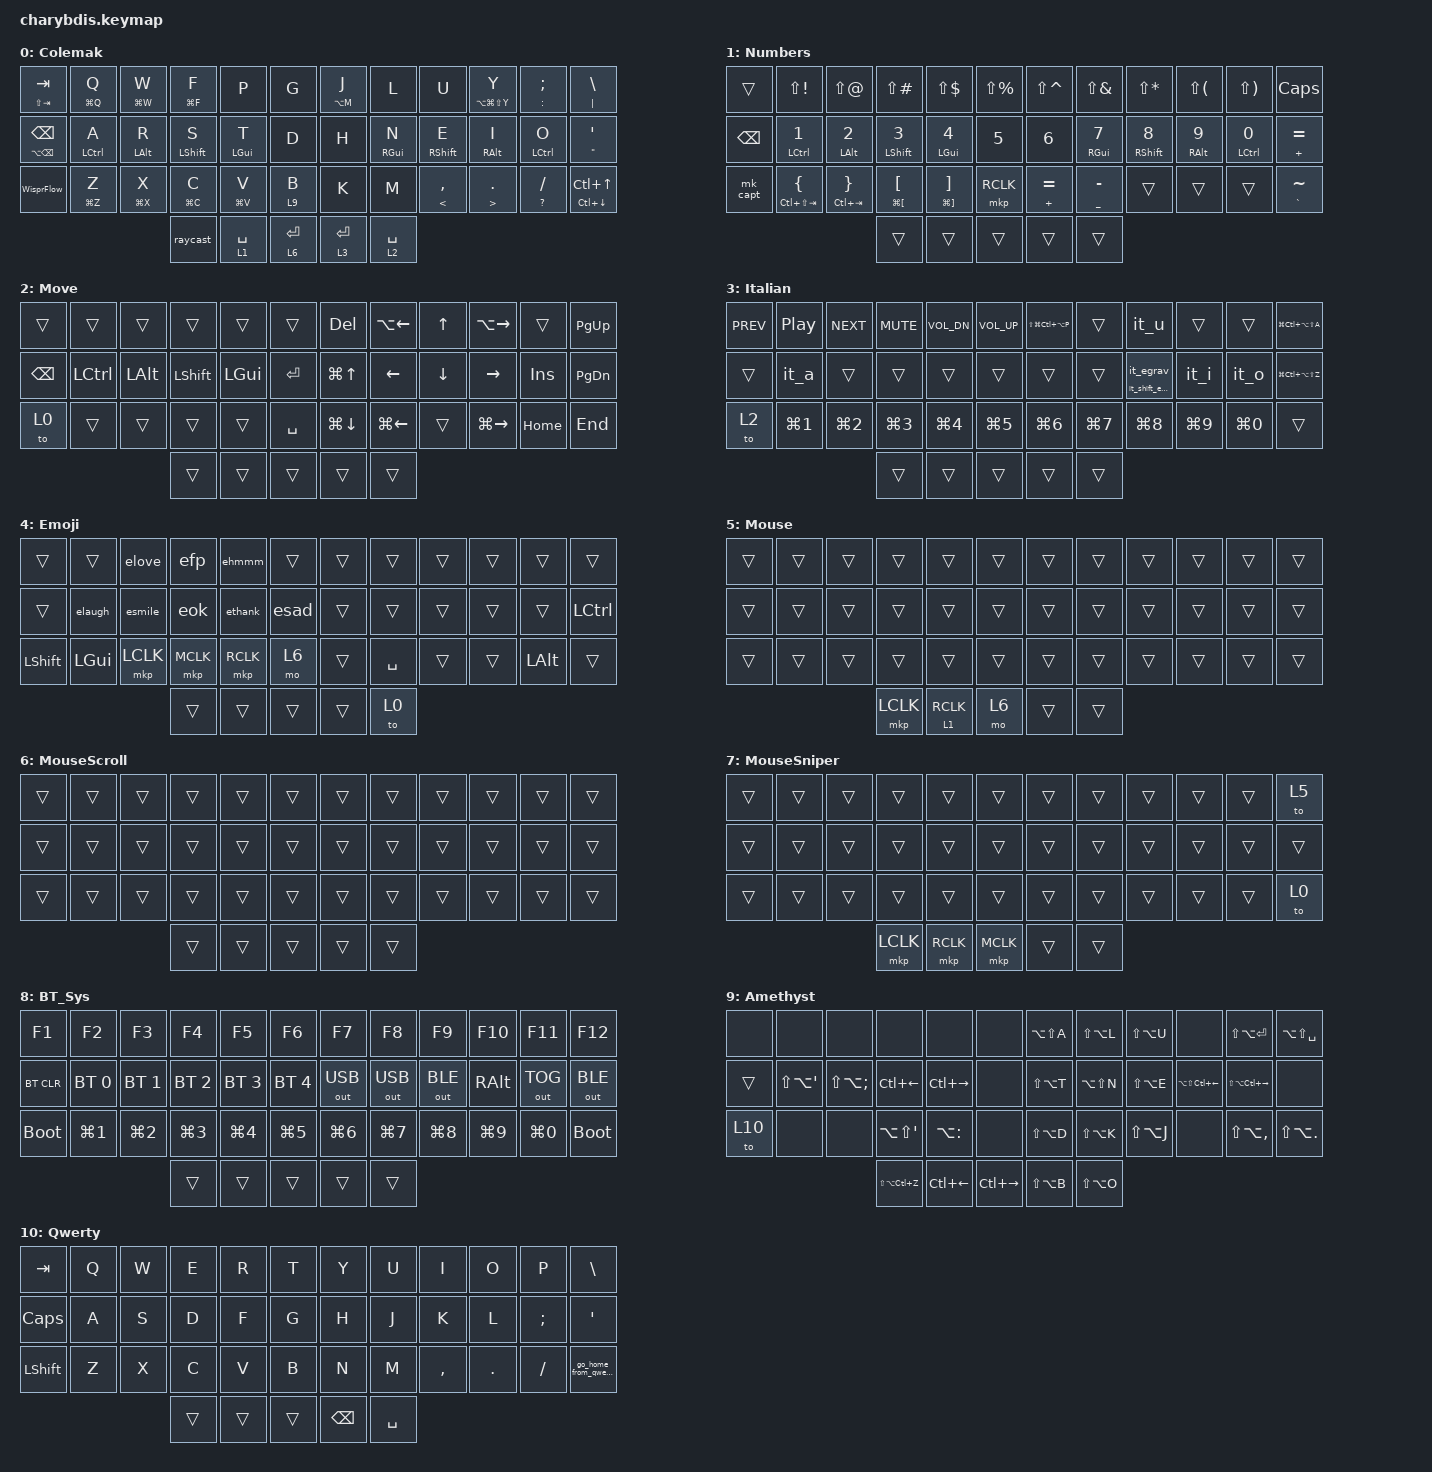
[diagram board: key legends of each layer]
#include <dt-bindings/zmk/mouse.h>
#include <behaviors.dtsi>
#include <dt-bindings/zmk/bt.h>
#include <dt-bindings/zmk/keys.h>
#include <dt-bindings/zmk/outputs.h>
#include <dt-bindings/zmk/pointing.h>

&lt {
    tapping-term-ms = <175>;
    flavor = "balanced";

    //    quick-tap-ms = <100>;
};

//12.18 new Tag

/ {
    combos {
        compatible = "zmk,combos";

        Escape {
            bindings = <&kp ESCAPE>;
            key-positions = <2 3>;
            timeout-ms = <50>;
            layers = <0 2 1 5 6 7 11>;
        };

        del {
            bindings = <&kp DEL>;
            key-positions = <3 4>;
            timeout-ms = <50>;
            layers = <0 2 1 5 6 4 7 11>;
        };

        Expose {
            bindings = <&kp LC(UP_ARROW)>;
            key-positions = <31 32>;
            timeout-ms = <50>;
            layers = <0 2 1 5 6>;
        };

        Rshift_Rcmd {
            bindings = <&kp RS(RCMD)>;
            key-positions = <19 20>;
            timeout-ms = <30>;
            layers = <0 2 1 5 6>;
        };

        Lshift_Lcmd {
            bindings = <&kp LS(LCMD)>;
            key-positions = <15 16>;
            timeout-ms = <30>;
            layers = <0 2 1 5 6>;
        };

        Space {
            bindings = <&kp SPACE>;
            key-positions = <26 28>;
            layers = <1 0 2 5 6>;
            timeout-ms = <50>;
        };

        Raycast {
            bindings = <&kp LG(SPACE)>;
            key-positions = <27 28>;
            timeout-ms = <50>;
            layers = <0 1 2 5 6>;
        };

        Emoticons {
            bindings = <&kp LC(LG(SPACE))>;
            key-positions = <26 27>;
        };

        GoLayer0 {
            bindings = <&to 0>;
            key-positions = <40 39>;
        };
    };

    behaviors {
        ht: ht {
            compatible = "zmk,behavior-hold-tap";
            label = "HT";
            bindings = <&kp>, <&kp>;

            #binding-cells = <2>;
            tapping-term-ms = <145>;
            quick-tap-ms = <50>;
            require-prior-idle-ms = <50>;
            flavor = "balanced";
        };

        ht_bck: ht_bck {
            compatible = "zmk,behavior-hold-tap";
            label = "HT_BCK";
            bindings = <&kp>, <&kp>;

            #binding-cells = <2>;
            tapping-term-ms = <145>;
            quick-tap-ms = <0>;
            require-prior-idle-ms = <140>;
            flavor = "balanced";
            hold-trigger-key-positions = <12>;
        };

        lhmrow: lhmrow {
            compatible = "zmk,behavior-hold-tap";
            label = "LHMROW";
            bindings = <&kp>, <&kp>;

            #binding-cells = <2>;
            tapping-term-ms = <170>;
            quick-tap-ms = <40>;
            require-prior-idle-ms = <40>;
            flavor = "tap-preferred";
            hold-trigger-key-positions = <6 7 9 10 11 18 19 20 21 22 23 30 31 32 33 34 35 8 39 40 0 36 37 38>;
        };

        rhmrow: rhmrow {
            compatible = "zmk,behavior-hold-tap";
            label = "RHMROW";
            bindings = <&kp>, <&kp>;

            #binding-cells = <2>;
            tapping-term-ms = <170>;
            require-prior-idle-ms = <50>;
            flavor = "tap-preferred";
            hold-trigger-key-positions = <0 1 2 3 4 5 12 13 14 15 16 17 24 25 26 27 28 29 36 37 38>;
            quick-tap-ms = <50>;
        };

        it_e: it_e {
            compatible = "zmk,behavior-hold-tap";
            label = "IT_E";
            bindings = <&it_shift_egrav>, <&it_egrav>;

            #binding-cells = <2>;
            tapping-term-ms = <145>;
            quick-tap-ms = <50>;
            require-prior-idle-ms = <50>;
            flavor = "balanced";
        };

        raycast: raycast {
            compatible = "zmk,behavior-tap-dance";
            label = "RAYCAST";
            #binding-cells = <0>;
            bindings = <&lt 4 LG(SPACE)>, <&to 4>;

            tapping-term-ms = <180>;
        };

        WisprFlow: WisprFlow {
            compatible = "zmk,behavior-tap-dance";
            label = "WISPRFLOW";
            #binding-cells = <0>;
            bindings = <&kp LC(LA(G))>, <&ht LA(LC(P)) LC(LA(B))>;

            tapping-term-ms = <190>;
        };

        mk_capt: mk_capt {
            compatible = "zmk,behavior-tap-dance";
            label = "MK_CAPT";
            #binding-cells = <0>;
            tapping-term-ms = <185>;
            bindings =
                <&ht LG(LS(LC(NUMBER_4))) LS(LG(NUMBER_2))>,
                <&ht LS(LG(N5)) LS(LG(NUMBER_4))>;
        };

        leftClick: leftClick {
            compatible = "zmk,behavior-hold-tap";
            label = "LEFTCLICK";
            #binding-cells = <2>;
            tapping-term-ms = <120>;
            flavor = "hold-preferred";
            bindings = <&mo>, <&mkp>;
        };

        NumbersLayer: NumbersLayer {
            compatible = "zmk,behavior-hold-tap";
            label = "NUMBERSLAYER";
            #binding-cells = <2>;
            tapping-term-ms = <130>;
            flavor = "hold-preferred";
            bindings = <&mo>, <&kp>;
        };

        move_h: move_h {
            compatible = "zmk,behavior-hold-tap";
            label = "MOVE_H";
            bindings = <&to>, <&kp>;

            #binding-cells = <2>;
            tapping-term-ms = <170>;
            quick-tap-ms = <50>;
            require-prior-idle-ms = <50>;
            flavor = "balanced";
        };

        notetaker: notetaker {
            compatible = "zmk,behavior-hold-tap";
            label = "NOTETAKER";
            bindings = <&kp>, <&kp>;

            #binding-cells = <2>;
            tapping-term-ms = <200>;
            quick-tap-ms = <70>;
            flavor = "balanced";
        };

        go_home_layer: go_home_layer {
            compatible = "zmk,behavior-tap-dance";
            label = "GO_HOME_LAYER";
            #binding-cells = <0>;
            bindings = <&trans>, <&to 0>;

            tapping-term-ms = <180>;
        };

        go_home_from_qwerty: go_home_from_qwerty {
            compatible = "zmk,behavior-tap-dance";
            label = "GO_HOME_FROM_QWERTY";
            #binding-cells = <0>;
            bindings = <&kp RIGHT_SHIFT>, <&to 0>;

            tapping-term-ms = <180>;
        };

        amethyst: amethyst {
            compatible = "zmk,behavior-hold-tap";
            label = "AMETHYST";
            bindings = <&mo>, <&kp>;

            #binding-cells = <2>;
            quick-tap-ms = <50>;
            tapping-term-ms = <170>;
            require-prior-idle-ms = <50>;
            flavor = "balanced";
        };
    };

    macros {
        it_egrav: it_grav {
            compatible = "zmk,behavior-macro";
            #binding-cells = <0>;
            bindings = <&kp LA(GRAVE) &kp E>;
            label = "IT_GRAV";
        };

        it_shift_egrav: it_shift_egrav {
            compatible = "zmk,behavior-macro";
            #binding-cells = <0>;
            bindings = <&kp LA(E) &kp E>;
            label = "IT_SHIFT_EGRAV";
        };

        it_i: it_i {
            compatible = "zmk,behavior-macro";
            #binding-cells = <0>;
            bindings = <&kp LA(GRAVE) &kp I>;
            label = "IT_I";
        };

        it_o: it_o {
            compatible = "zmk,behavior-macro";
            #binding-cells = <0>;
            bindings = <&kp LA(GRAVE) &kp O>;
            label = "IT_O";
        };

        it_u: it_u {
            compatible = "zmk,behavior-macro";
            #binding-cells = <0>;
            bindings = <&kp LA(GRAVE) &kp U>;
            label = "IT_U";
        };

        it_a: it_a {
            compatible = "zmk,behavior-macro";
            #binding-cells = <0>;
            bindings = <&kp LA(GRAVE) &kp A>;
            label = "IT_A";
        };

        efp: efp {
            compatible = "zmk,behavior-macro";
            #binding-cells = <0>;
            bindings = <&kp UNDER &kp F &kp P>;
            label = "EFP";
        };

        elaugh: elaugh {
            compatible = "zmk,behavior-macro";
            #binding-cells = <0>;
            bindings = <&kp UNDER &kp L &kp A>;
            label = "ELAUGH";
        };

        eok: eok {
            compatible = "zmk,behavior-macro";
            #binding-cells = <0>;
            bindings = <&kp UNDER &kp O &kp K>;
            label = "EOK";
        };

        ethank: ethank {
            compatible = "zmk,behavior-macro";
            #binding-cells = <0>;
            bindings = <&kp UNDER &kp T &kp H>;
            label = "ETHANK";
        };

        esmile: esmile {
            compatible = "zmk,behavior-macro";
            #binding-cells = <0>;
            bindings = <&kp UNDER &kp S &kp M>;
            label = "ESMILE";
        };

        esad: esad {
            compatible = "zmk,behavior-macro";
            #binding-cells = <0>;
            bindings = <&kp UNDER &kp S &kp A &kp D>;
            label = "ESAD";
        };

        elove: elove {
            compatible = "zmk,behavior-macro";
            #binding-cells = <0>;
            bindings = <&kp UNDER &kp L &kp V>;
            label = "ELOVE";
        };

        ehmmm: ehmmm {
            compatible = "zmk,behavior-macro";
            #binding-cells = <0>;
            bindings = <&kp UNDER &kp H &kp M>;
            label = "EHMMM";
        };

        ecoffe: ecoffe {
            compatible = "zmk,behavior-macro";
            #binding-cells = <0>;
            bindings = <&kp UNDER &kp C &kp F>;
            label = "ECOFFE";
        };
    };

    keymap {
        compatible = "zmk,keymap";

        Colemak {
            bindings = <
&ht LS(TAB) TAB             &ht LG(Q) Q      &ht LG(W) W     &ht LG(F) F       &kp P                  &kp G              &notetaker LA(M) J  &kp L           &kp U                &ht LA(LG(LS(Y))) Y      &ht COLON SEMICOLON     &ht PIPE BACKSLASH
&ht_bck LA(BSPC) BACKSPACE  &lhmrow LCTRL A  &lhmrow LALT R  &lhmrow LSHIFT S  &lhmrow LGUI T         &kp D              &kp H               &rhmrow RGUI N  &rhmrow RSHFT E      &rhmrow RALT I           &rhmrow LEFT_CONTROL O  &ht DOUBLE_QUOTES SQT
&WisprFlow                  &ht LG(Z) Z      &ht LG(X) X     &ht LG(C) C       &ht LG(V) V            &amethyst 9 B      &kp K               &kp M           &ht LESS_THAN COMMA  &ht GREATER_THAN PERIOD  &ht QUESTION SLASH      &ht LC(DOWN) LC(UP_ARROW)
                                                             &raycast          &NumbersLayer 1 SPACE  &lt 6 ENTER        &lt 3 ENTER         &lt 2 SPACE
            >;
        };

        Numbers {
            bindings = <
&trans         &kp LS(EXCL)                &kp LS(AT)               &kp LS(POUND)                      &kp LS(DLLR)                         &kp LS(PRCNT)      &kp LS(CARET)   &kp LS(AMPS)          &kp LS(STAR)       &kp LS(LPAR)     &kp LS(RPAR)             &kp CAPSLOCK
&kp BACKSPACE  &lhmrow LCTRL NUMBER_1      &lhmrow LALT NUMBER_2    &lhmrow LSHFT NUMBER_3             &lhmrow LGUI NUMBER_4                &kp N5             &kp NUMBER_6    &rhmrow RGUI N7       &rhmrow RSHIFT N8  &rhmrow RALT N9  &rhmrow LEFT_CONTROL N0  &ht PLUS EQUAL
&mk_capt       &ht LC(LS(TAB)) LEFT_BRACE  &ht LC(TAB) RIGHT_BRACE  &ht LG(LEFT_BRACKET) LEFT_BRACKET  &ht LG(RIGHT_BRACKET) RIGHT_BRACKET  &mkp RCLK          &ht PLUS EQUAL  &ht UNDERSCORE MINUS  &trans             &trans           &trans                   &ht GRAVE TILDE
                                                                    &trans                             &trans                               &trans             &trans          &trans
            >;
        };

        Move {
            bindings = <
&trans         &trans     &trans    &trans     &trans    &trans         &kp DEL       &kp LA(LEFT)  &kp UP    &kp LA(RIGHT)  &trans    &kp PG_UP
&kp BACKSPACE  &kp LCTRL  &kp LALT  &kp LSHFT  &kp LGUI  &kp RET        &kp LG(UP)    &kp LEFT      &kp DOWN  &kp RIGHT      &kp INS   &kp PAGE_DOWN
&to 0          &trans     &trans    &trans     &trans    &kp SPACE      &kp LG(DOWN)  &kp LG(LEFT)  &trans    &kp LG(RIGHT)  &kp HOME  &kp END
                                    &trans     &trans    &trans         &trans        &trans
            >;
        };

        Italian {
            bindings = <
&kp C_PREV  &kp C_PP    &kp C_NEXT        &kp K_MUTE        &kp C_VOL_DN      &kp C_VOL_UP      &kp LS(LG(LC(LA(P))))  &trans      &it_u       &trans      &trans      &kp LG(LC(LA(LS(A))))
&trans      &it_a       &trans            &trans            &trans            &trans            &trans                 &trans      &it_e 0 0   &it_i       &it_o       &kp LG(LC(LA(LS(Z))))
&to 2       &kp LG(N1)  &kp LG(NUMBER_2)  &kp LG(NUMBER_3)  &kp LG(NUMBER_4)  &kp LG(N5)        &kp LG(NUMBER_6)       &kp LG(N7)  &kp LG(N8)  &kp LG(N9)  &kp LG(N0)  &trans
                                          &trans            &trans            &trans            &trans                 &trans
            >;
        };

        Emoji {
            bindings = <
&trans      &trans    &elove     &efp       &ehmmm     &trans      &trans  &trans     &trans  &trans  &trans        &trans
&trans      &elaugh   &esmile    &eok       &ethank    &esad       &trans  &trans     &trans  &trans  &trans        &kp LCTRL
&kp LSHIFT  &kp LGUI  &mkp LCLK  &mkp MCLK  &mkp RCLK  &mo 6       &trans  &kp SPACE  &trans  &trans  &kp LEFT_ALT  &trans
                                 &trans     &trans     &trans      &trans  &to 0
            >;
        };

        Mouse {
            bindings = <
&trans  &trans  &trans  &trans     &trans             &trans      &trans  &trans  &trans  &trans  &trans  &trans
&trans  &trans  &trans  &trans     &trans             &trans      &trans  &trans  &trans  &trans  &trans  &trans
&trans  &trans  &trans  &trans     &trans             &trans      &trans  &trans  &trans  &trans  &trans  &trans
                        &mkp LCLK  &leftClick 1 RCLK  &mo 6       &trans  &trans
            >;
        };

        MouseScroll {
            bindings = <
&trans  &trans  &trans  &trans  &trans  &trans      &trans  &trans  &trans  &trans  &trans  &trans
&trans  &trans  &trans  &trans  &trans  &trans      &trans  &trans  &trans  &trans  &trans  &trans
&trans  &trans  &trans  &trans  &trans  &trans      &trans  &trans  &trans  &trans  &trans  &trans
                        &trans  &trans  &trans      &trans  &trans
            >;
        };

        MouseSniper {
            bindings = <
&trans  &trans  &trans  &trans     &trans     &trans         &trans  &trans  &trans  &trans  &trans  &to 5
&trans  &trans  &trans  &trans     &trans     &trans         &trans  &trans  &trans  &trans  &trans  &trans
&trans  &trans  &trans  &trans     &trans     &trans         &trans  &trans  &trans  &trans  &trans  &to 0
                        &mkp LCLK  &mkp RCLK  &mkp MCLK      &trans  &trans
            >;
        };

        BT_Sys {
            bindings = <
&kp F1       &kp F2        &kp F3        &kp F4        &kp F5        &kp F6            &kp F7        &kp F8        &kp F9        &kp F10     &kp F11       &kp F12
&bt BT_CLR   &bt BT_SEL 0  &bt BT_SEL 1  &bt BT_SEL 2  &bt BT_SEL 3  &bt BT_SEL 4      &out OUT_USB  &out OUT_USB  &out OUT_BLE  &kp RALT    &out OUT_TOG  &out OUT_BLE
&bootloader  &kp LG(N1)    &kp LG(N2)    &kp LG(N3)    &kp LG(N4)    &kp LG(N5)        &kp LG(N6)    &kp LG(N7)    &kp LG(N8)    &kp LG(N9)  &kp LG(N0)    &bootloader
                                         &trans        &trans        &trans            &trans        &trans
            >;
        };

        Amethyst {
            bindings = <
&none   &none            &none                  &none              &none          &none              &kp LA(LS(A))  &kp LS(LA(L))  &kp LS(LA(U))  &none                 &kp LS(LA(ENTER))      &kp LA(LS(SPACE))
&trans  &kp LS(LA(SQT))  &kp LS(LA(SEMICOLON))  &kp LC(LEFT)       &kp LC(RIGHT)  &none              &kp LS(LA(T))  &kp LA(LS(N))  &kp LS(LA(E))  &kp LA(LS(LC(LEFT)))  &kp LS(LA(LC(RIGHT)))  &none
&to 10  &none            &none                  &kp LA(LS(SQT))    &kp LA(COLON)  &none              &kp LS(LA(D))  &kp LS(LA(K))  &kp LS(LA(J))  &none                 &kp LS(LA(COMMA))      &kp LS(LA(PERIOD))
                                                &kp LS(LA(LC(Z)))  &kp LC(LEFT)   &kp LC(RIGHT)      &kp LS(LA(B))  &kp LS(LA(O))
            >;

            label = "Amethyst";
        };

        Qwerty {
            bindings = <
&kp TAB    &kp Q  &kp W  &kp E   &kp R   &kp T       &kp Y     &kp U      &kp I      &kp O    &kp P     &kp BSLH
&kp CAPS   &kp A  &kp S  &kp D   &kp F   &kp G       &kp H     &kp J      &kp K      &kp L    &kp SEMI  &kp APOS
&kp LSHFT  &kp Z  &kp X  &kp C   &kp V   &kp B       &kp N     &kp M      &kp COMMA  &kp DOT  &kp FSLH  &go_home_from_qwerty
                         &trans  &trans  &trans      &kp BSPC  &kp SPACE
            >;
        };
    };

    conditional_layers {
        compatible = "zmk,conditional-layers";

        BT_SYS {
            if-layers = <3 6>;
            then-layer = <8>;
        };
    };
};
